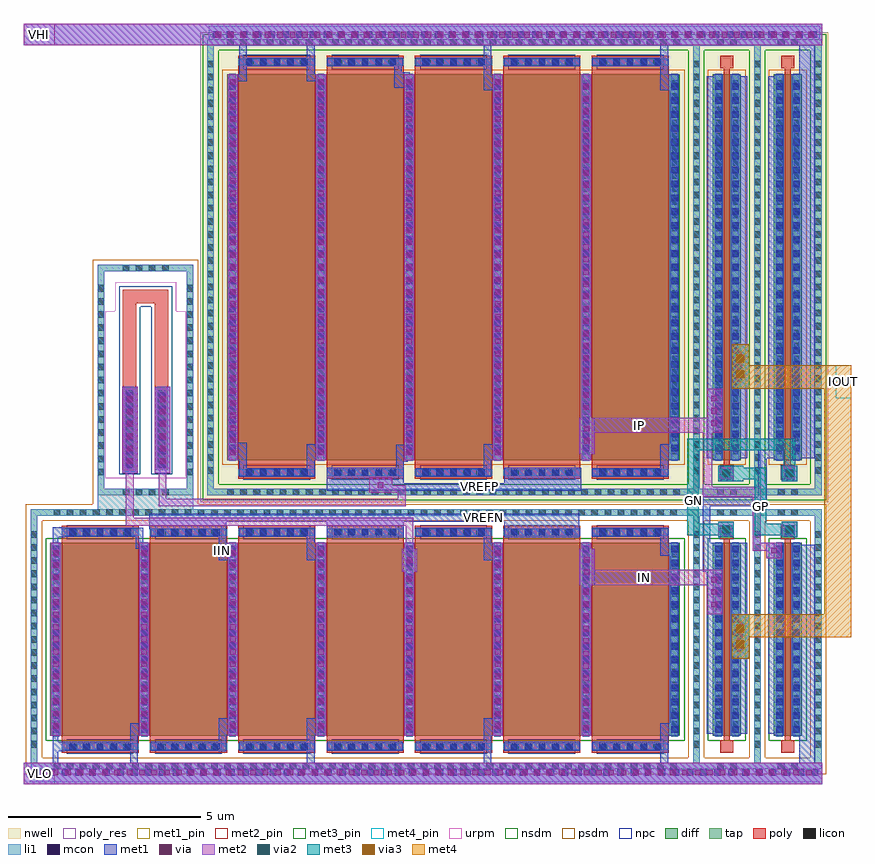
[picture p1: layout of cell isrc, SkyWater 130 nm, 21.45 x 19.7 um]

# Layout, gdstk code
import gdstk
lib = gdstk.Library(unit=1e-6, precision=1e-09)
def R(c, l, rs):  # rectangles x0, y0, x1, y1
    for r in rs: c.add(gdstk.rectangle(r[:2], r[2:], *l))
def A(c, l, x, y, w, h, nx, ny, dx, dy):  # array of equal rectangles
    R(c, l, [(x+i*dx, y+j*dy, x+i*dx+w, y+j*dy+h) for i in range(nx) for j in range(ny)])
nwell = (64, 20)
diff = (65, 20)
tap = (65, 44)
poly_res = (66, 13)
poly = (66, 20)
licon = (66, 44)
li1 = (67, 20)
mcon = (67, 44)
met1_pin = (68, 16)
met1 = (68, 20)
via = (68, 44)
met2_pin = (69, 16)
met2 = (69, 20)
via2 = (69, 44)
met3_pin = (70, 16)
met3 = (70, 20)
via3 = (70, 44)
met4_pin = (71, 16)
met4 = (71, 20)
urpm = (79, 20)
nsdm = (93, 44)
psdm = (94, 20)
npc = (95, 20)

isrc = lib.new_cell('isrc')
R(isrc, nwell, [(3.58,16.1,19.86,28.29)])
R(isrc, diff, [(-0.31,10.05,16.01,15.05), (16.86,10.05,17.59,15.05), (18.44,10.05,19.17,15.05), (4.27,17.195,16.01,27.195), (16.86,17.195,17.59,27.195), (18.44,17.195,19.17,27.195)])
A(isrc, tap, 16.35, 9.35, 0.17, 6.4, 3, 1, 1.58, 0)
A(isrc, tap, 16.35, 16.45, 0.17, 11.49, 3, 1, 1.58, 0)
R(isrc, tap, [(-0.82,9.18,19.68,9.35), (-0.82,9.35,-0.65,15.75), (-0.82,15.75,19.68,15.92), (0.92,16.28,3.4,16.45), (3.76,16.28,19.68,16.45), (0.92,16.45,1.09,22.09), (3.23,16.45,3.4,22.09), (3.76,16.45,3.93,27.94), (0.92,22.09,3.4,22.26), (3.76,27.94,19.68,28.11)])
R(isrc, poly_res, [(1.57,19.03,1.92,21.26), (2.4,19.03,2.75,21.26), (1.57,21.26,2.75,21.61)])
A(isrc, poly, -0.02, 9.61, 2, 5.88, 7, 1, 2.29, 0)
A(isrc, poly, 4.56, 16.71, 2, 10.97, 5, 1, 2.29, 0)
R(isrc, poly, [(17.06,9.61,17.39,9.94), (18.64,9.61,18.97,9.94), (17.15,9.94,17.3,15.16), (18.73,9.94,18.88,15.16), (17.06,15.16,17.39,15.49), (18.64,15.16,18.97,15.49), (17.06,16.71,17.39,17.04), (18.64,16.71,18.97,17.04), (1.57,16.93,1.92,21.26), (2.4,16.93,2.75,21.26), (17.15,17.04,17.3,27.35), (18.73,17.04,18.88,27.35), (1.57,21.26,2.75,21.61), (17.06,27.35,17.39,27.68), (18.64,27.35,18.97,27.68)])
A(isrc, licon, -0.225, 9.18, 0.17, 0.17, 48, 2, 0.34, 6.57)
A(isrc, licon, 0.215, 9.69, 0.17, 0.17, 5, 2, 0.34, 5.55)
A(isrc, licon, 2.505, 9.69, 0.17, 0.17, 5, 2, 0.34, 5.55)
A(isrc, licon, 4.795, 9.69, 0.17, 0.17, 5, 2, 0.34, 5.55)
A(isrc, licon, 7.085, 9.69, 0.17, 0.17, 5, 2, 0.34, 5.55)
A(isrc, licon, 9.375, 9.69, 0.17, 0.17, 5, 2, 0.34, 5.55)
A(isrc, licon, 11.665, 9.69, 0.17, 0.17, 5, 2, 0.34, 5.55)
A(isrc, licon, 13.955, 9.69, 0.17, 0.17, 5, 2, 0.34, 5.55)
A(isrc, licon, -0.82, 9.745, 0.17, 0.17, 1, 17, 0, 0.34)
A(isrc, licon, 16.35, 9.745, 0.17, 0.17, 3, 17, 1.58, 0.34)
A(isrc, licon, -0.25, 10.255, 0.17, 0.17, 8, 14, 2.29, 0.34)
A(isrc, licon, 16.92, 10.255, 0.17, 0.17, 1, 14, 0, 0.34)
A(isrc, licon, 17.36, 10.255, 0.17, 0.17, 1, 14, 0, 0.34)
A(isrc, licon, 18.5, 10.255, 0.17, 0.17, 1, 14, 0, 0.34)
A(isrc, licon, 18.94, 10.255, 0.17, 0.17, 1, 14, 0, 0.34)
A(isrc, licon, 1.565, 16.28, 0.17, 0.17, 4, 2, 0.34, 5.81)
A(isrc, licon, 4.275, 16.28, 0.17, 0.17, 35, 2, 0.34, 11.66)
A(isrc, licon, 4.795, 16.79, 0.17, 0.17, 5, 2, 0.34, 10.64)
A(isrc, licon, 7.085, 16.79, 0.17, 0.17, 5, 2, 0.34, 10.64)
A(isrc, licon, 9.375, 16.79, 0.17, 0.17, 5, 2, 0.34, 10.64)
A(isrc, licon, 11.665, 16.79, 0.17, 0.17, 5, 2, 0.34, 10.64)
A(isrc, licon, 13.955, 16.79, 0.17, 0.17, 5, 2, 0.34, 10.64)
A(isrc, licon, 0.92, 16.805, 0.17, 0.17, 1, 15, 0, 0.34)
A(isrc, licon, 3.23, 16.805, 0.17, 0.17, 1, 15, 0, 0.34)
A(isrc, licon, 3.76, 16.84, 0.17, 0.17, 1, 32, 0, 0.34)
A(isrc, licon, 16.35, 16.84, 0.17, 0.17, 3, 32, 1.58, 0.34)
A(isrc, licon, 4.33, 17.35, 0.17, 0.17, 6, 29, 2.29, 0.34)
A(isrc, licon, 16.92, 17.35, 0.17, 0.17, 1, 29, 0, 0.34)
A(isrc, licon, 17.36, 17.35, 0.17, 0.17, 1, 29, 0, 0.34)
A(isrc, licon, 18.5, 17.35, 0.17, 0.17, 1, 29, 0, 0.34)
A(isrc, licon, 18.94, 17.35, 0.17, 0.17, 1, 29, 0, 0.34)
R(isrc, licon, [(16.97,9.18,17.14,9.35), (17.31,9.18,17.48,9.35), (18.55,9.18,18.72,9.35), (18.89,9.18,19.06,9.35), (17.14,15.24,17.31,15.41), (18.72,15.24,18.89,15.41), (16.97,15.75,17.14,15.92), (17.31,15.75,17.48,15.92), (18.55,15.75,18.72,15.92), (18.89,15.75,19.06,15.92), (16.97,16.28,17.14,16.45), (17.31,16.28,17.48,16.45), (18.55,16.28,18.72,16.45), (18.89,16.28,19.06,16.45), (17.14,16.79,17.31,16.96), (18.72,16.79,18.89,16.96), (1.65,17.01,1.84,19.01), (2.48,17.01,2.67,19.01), (16.97,27.94,17.14,28.11), (17.31,27.94,17.48,28.11), (18.55,27.94,18.72,28.11), (18.89,27.94,19.06,28.11)])
A(isrc, li1, 16.35, 9.35, 0.17, 6.4, 3, 1, 1.58, 0)
A(isrc, li1, -0.02, 9.69, 2, 0.17, 7, 2, 2.29, 5.55)
A(isrc, li1, -0.25, 10.03, 0.17, 5.04, 8, 1, 2.29, 0)
A(isrc, li1, 16.35, 16.45, 0.17, 11.49, 3, 1, 1.58, 0)
A(isrc, li1, 4.56, 16.79, 2, 0.17, 5, 2, 2.29, 10.64)
A(isrc, li1, 4.33, 17.175, 0.17, 10.04, 6, 1, 2.29, 0)
R(isrc, li1, [(-0.85,8.85,19.7,9.2), (-0.82,9.2,19.7,9.35), (-0.82,9.35,-0.65,15.75), (16.92,10.03,17.09,15.07), (17.36,10.03,17.53,15.07), (18.5,10.03,18.67,15.07), (18.94,10.03,19.11,15.07), (17.06,15.24,17.39,15.41), (18.64,15.24,18.97,15.41), (-0.82,15.75,19.68,15.92), (0.92,15.92,3.4,16.45), (3.76,16.28,19.68,16.45), (0.92,16.45,1.09,22.09), (3.23,16.45,3.4,22.09), (3.76,16.45,3.93,27.94), (17.06,16.79,17.39,16.96), (18.64,16.79,18.97,16.96), (1.55,16.9,1.95,19.05), (2.4,16.93,2.75,19.09), (16.92,17.175,17.09,27.215), (17.36,17.175,17.53,27.215), (18.5,17.175,18.67,27.215), (18.94,17.175,19.11,27.215), (1.57,19.05,1.92,19.09), (0.92,22.09,3.4,22.26), (3.76,27.94,19.68,28.11), (3.8,28.11,19.65,28.45)])
A(isrc, mcon, -0.74, 9.015, 0.17, 0.17, 57, 1, 0.36, 0)
A(isrc, mcon, 0.175, 9.69, 0.17, 0.17, 5, 2, 0.36, 5.55)
A(isrc, mcon, 2.465, 9.69, 0.17, 0.17, 5, 2, 0.36, 5.55)
A(isrc, mcon, 4.755, 9.69, 0.17, 0.17, 5, 2, 0.36, 5.55)
A(isrc, mcon, 7.045, 9.69, 0.17, 0.17, 5, 2, 0.36, 5.55)
A(isrc, mcon, 9.335, 9.69, 0.17, 0.17, 5, 2, 0.36, 5.55)
A(isrc, mcon, 11.625, 9.69, 0.17, 0.17, 5, 2, 0.36, 5.55)
A(isrc, mcon, 13.915, 9.69, 0.17, 0.17, 5, 2, 0.36, 5.55)
A(isrc, mcon, -0.25, 10.125, 0.17, 0.17, 8, 14, 2.29, 0.36)
A(isrc, mcon, 16.92, 10.125, 0.17, 0.17, 1, 14, 0, 0.36)
A(isrc, mcon, 17.36, 10.125, 0.17, 0.17, 1, 14, 0, 0.36)
A(isrc, mcon, 18.5, 10.125, 0.17, 0.17, 1, 14, 0, 0.36)
A(isrc, mcon, 18.94, 10.125, 0.17, 0.17, 1, 14, 0, 0.36)
A(isrc, mcon, 4.755, 16.79, 0.17, 0.17, 5, 2, 0.36, 10.64)
A(isrc, mcon, 7.045, 16.79, 0.17, 0.17, 5, 2, 0.36, 10.64)
A(isrc, mcon, 9.335, 16.79, 0.17, 0.17, 5, 2, 0.36, 10.64)
A(isrc, mcon, 11.625, 16.79, 0.17, 0.17, 5, 2, 0.36, 10.64)
A(isrc, mcon, 13.915, 16.79, 0.17, 0.17, 5, 2, 0.36, 10.64)
A(isrc, mcon, 1.665, 16.99, 0.17, 0.17, 1, 6, 0, 0.36)
A(isrc, mcon, 2.515, 16.99, 0.17, 0.17, 1, 6, 0, 0.36)
A(isrc, mcon, 4.33, 17.43, 0.17, 0.17, 6, 27, 2.29, 0.36)
A(isrc, mcon, 16.92, 17.43, 0.17, 0.17, 1, 27, 0, 0.36)
A(isrc, mcon, 17.36, 17.43, 0.17, 0.17, 1, 27, 0, 0.36)
A(isrc, mcon, 18.5, 17.43, 0.17, 0.17, 1, 27, 0, 0.36)
A(isrc, mcon, 18.94, 17.43, 0.17, 0.17, 1, 27, 0, 0.36)
A(isrc, mcon, 3.9, 28.14, 0.17, 0.17, 44, 1, 0.36, 0)
R(isrc, mcon, [(17.14,15.24,17.31,15.41), (18.72,15.24,18.89,15.41), (17.14,16.79,17.31,16.96), (18.72,16.79,18.89,16.96)])
R(isrc, met1_pin, [(4.05,14.6,4.25,15.1), (10.75,15.6,11.1,15.8), (10.65,16.4,11,16.6)])
A(isrc, met1, 1.76, 9.35, 0.2, 0.31, 4, 1, 4.58, 0)
A(isrc, met1, 2.29, 9.66, 1.96, 0.23, 6, 1, 2.29, 0)
A(isrc, met1, 1.76, 9.89, 0.2, 0.16, 3, 1, 2.29, 0)
A(isrc, met1, 9.16, 15.21, 1.96, 0.23, 3, 1, 2.29, 0)
A(isrc, met1, 4.58, 16.76, 1.96, 0.23, 3, 1, 4.58, 0)
A(isrc, met1, 6.34, 16.99, 0.2, 0.205, 3, 2, 4.58, 10.205)
A(isrc, met1, 4.58, 27.4, 1.96, 0.23, 5, 1, 2.29, 0)
A(isrc, met1, 6.34, 27.63, 0.2, 0.32, 3, 1, 4.58, 0)
R(isrc, met1, [(-1,8.8,19.7,9.35), (-0.25,9.35,-0.1,9.65), (19.1,9.35,19.5,10.05), (-0.25,9.65,0.05,9.66), (4.05,9.65,4.25,9.66), (-0.25,9.66,1.96,9.89), (-0.25,9.89,0.05,9.9), (10.92,9.89,11.12,10.05), (15.5,9.89,15.7,10.05), (-0.25,9.9,-0.1,10.05), (-0.295,10.05,-0.035,15.05), (1.76,10.05,2.255,10.38), (4.05,10.05,4.545,10.5), (6.34,10.05,6.835,10.505), (8.865,10.05,9.125,14.3), (10.92,10.05,11.415,10.505), (13.445,10.05,13.705,13.95), (15.5,10.05,15.98,10.38), (16.89,10.05,17.12,10.1), (17.33,10.05,17.56,10.1), (18.47,10.05,18.7,10.1), (18.91,10.05,19.5,15), (16.7,10.1,17.12,14.3), (17.33,10.1,17.75,12.05), (18.3,10.1,18.7,14.65), (1.995,10.38,2.255,14.9), (15.75,10.38,15.98,14.72), (4.285,10.5,4.545,14.6), (6.575,10.505,6.835,14.6), (11.155,10.505,11.415,14.595), (17.33,12.05,17.8,13.2), (17.33,13.2,17.75,15.05), (13.4,13.95,13.8,14.9), (8.8,14.3,9.2,14.9), (16.6,14.3,17.12,15.05), (10.92,14.595,11.415,15.05), (4.05,14.6,4.545,15.05), (6.34,14.6,6.835,15.05), (18.25,14.65,18.7,15.05), (15.5,14.72,15.98,15.05), (1.9,14.9,2.255,15.05), (8.865,14.9,9.125,15.05), (13.445,14.9,13.705,15.05), (18.91,15,19.14,15.05), (-0.25,15.05,-0.1,15.2), (1.9,15.05,2.1,15.21), (4.05,15.05,4.25,15.21), (6.34,15.05,6.625,15.055), (10.92,15.05,11.12,15.21), (15.5,15.05,15.7,15.21), (16.6,15.05,16.8,16), (6.34,15.055,6.54,15.21), (-0.25,15.2,0.05,15.21), (6.85,15.2,8.85,15.6), (11.45,15.2,13.4,15.21), (17,15.2,17.4,15.6), (18.65,15.2,19.05,15.6), (-0.25,15.21,2.1,15.44), (2.29,15.21,4.25,15.4), (4.58,15.21,6.54,15.44), (2.25,15.4,4.25,15.6), (-0.25,15.44,0.05,15.45), (11.45,15.44,13.4,15.6), (2.25,15.6,13.4,15.8), (18.11,15.99,18.26,16), (16.6,16,18.26,16.25), (18.04,16.25,18.26,17.24), (6.85,16.4,13.45,16.6), (6.85,16.6,8.85,17), (11.45,16.6,13.45,17), (17,16.65,17.4,17.05), (18.65,16.65,19.05,17.05), (1.55,16.85,1.95,19.1), (2.4,16.85,2.8,19.1), (4.58,16.99,4.78,17.195), (8.65,17,8.85,17.15), (8.65,17.15,8.95,17.195), (4.285,17.195,4.78,17.65), (6.34,17.195,6.835,17.605), (8.65,17.195,9.125,17.6), (10.92,17.195,11.415,17.605), (13.445,17.195,13.705,17.35), (15.5,17.195,15.98,17.605), (16.89,17.195,17.12,17.25), (17.33,17.195,17.56,17.25), (18.47,17.195,18.7,17.24), (18.91,17.195,19.14,17.25), (18.04,17.24,18.7,17.46), (16.7,17.25,17.12,27.15), (17.33,17.25,17.75,19.05), (18.91,17.25,19.5,27.195), (13.4,17.35,13.8,18.3), (18.3,17.46,18.7,27.15), (8.865,17.6,9.125,26.85), (6.575,17.605,6.835,27.015), (11.155,17.605,11.415,26.785), (15.75,17.605,15.98,26.785), (4.285,17.65,4.545,27.015), (13.445,18.3,13.705,27.195), (17.33,19.05,17.8,20.2), (17.33,20.2,17.75,27.15), (10.92,26.785,11.415,27.195), (15.5,26.785,15.98,27.195), (8.6,26.85,9.125,27.195), (4.285,27.015,4.78,27.195), (6.34,27.015,6.835,27.195), (16.89,27.15,17.12,27.195), (17.33,27.15,17.56,27.195), (18.47,27.15,18.7,27.195), (4.58,27.195,4.78,27.4), (8.6,27.195,9,27.25), (19.1,27.195,19.5,27.95), (8.6,27.25,8.8,27.4), (4.58,27.63,4.78,27.95), (-1,27.95,19.7,28.5)])
A(isrc, via, -0.57, 9.025, 0.15, 0.15, 63, 1, 0.32, 0)
A(isrc, via, 13.5, 10.19, 0.15, 0.15, 1, 12, 0, 0.32)
A(isrc, via, 8.92, 10.205, 0.15, 0.15, 1, 13, 0, 0.32)
A(isrc, via, -0.24, 10.235, 0.15, 0.15, 4, 15, 2.29, 0.32)
A(isrc, via, 11.21, 10.235, 0.15, 0.15, 1, 15, 0, 0.32)
A(isrc, via, 17.5, 12.23, 0.15, 0.15, 1, 3, 0, 0.32)
A(isrc, via, 16.825, 13.38, 0.15, 0.15, 1, 3, 0, 0.32)
A(isrc, via, 1.675, 17.1, 0.15, 0.15, 1, 6, 0, 0.32)
A(isrc, via, 2.525, 17.1, 0.15, 0.15, 1, 6, 0, 0.32)
A(isrc, via, 4.34, 17.32, 0.15, 0.15, 4, 31, 2.29, 0.32)
A(isrc, via, 16.825, 18.08, 0.15, 0.15, 1, 3, 0, 0.32)
A(isrc, via, 13.5, 18.485, 0.15, 0.15, 1, 27, 0, 0.32)
A(isrc, via, 17.475, 19.23, 0.15, 0.15, 1, 3, 0, 0.32)
A(isrc, via, 3.97, 28.15, 0.15, 0.15, 49, 1, 0.32, 0)
R(isrc, via, [(13.52,14.22,13.67,14.37), (8.925,14.525,9.075,14.675), (13.52,14.54,13.67,14.69), (18.375,14.775,18.525,14.925), (17.125,15.325,17.275,15.475), (18.775,15.325,18.925,15.475), (8.175,16.475,8.325,16.625), (17.125,16.775,17.275,16.925), (18.775,16.775,18.925,16.925), (13.52,17.62,13.67,17.77), (13.52,17.94,13.67,18.09)])
R(isrc, met2_pin, [(-1,8.8,-0.2,9.35), (14.9,13.95,15.3,14.35), (14.75,17.9,15.15,18.3), (-1,27.95,-0.2,28.5)])
A(isrc, met2, -0.295, 10.05, 0.26, 5, 4, 1, 2.29, 0)
A(isrc, met2, 4.285, 17.195, 0.26, 10, 4, 1, 2.29, 0)
R(isrc, met2, [(-1,8.8,19.7,9.35), (8.865,10.05,9.125,14.3), (11.155,10.05,11.415,15.05), (13.445,10.05,13.705,13.95), (17.35,12.05,17.8,13.2), (16.7,13.2,17.1,13.95), (13.4,13.95,17.1,14.35), (8.8,14.3,9.2,14.9), (13.4,14.35,13.8,14.9), (18.25,14.65,18.65,14.85), (17.9,14.85,18.65,15.05), (8.865,14.9,9.125,15.05), (13.445,14.9,13.705,15.05), (8.9,15.05,9.1,15.5), (17.9,15.05,18.1,16.25), (17,15.2,17.4,15.6), (18.65,15.2,19.05,15.6), (1.65,15.5,9.1,15.7), (1.65,15.7,1.85,16.85), (2.5,16,8.9,16.2), (2.5,16.2,2.7,16.85), (8.7,16.2,8.9,16.35), (16.6,16.25,18.1,16.5), (7.95,16.35,8.9,16.55), (16.6,16.5,16.85,17.9), (7.95,16.55,8.55,16.75), (17,16.65,17.4,17.05), (18.65,16.65,19.05,17.05), (1.55,16.85,1.95,19.1), (2.4,16.85,2.8,19.1), (13.445,17.195,13.705,17.35), (13.4,17.35,13.8,17.9), (13.4,17.9,17.1,18.3), (13.445,18.3,13.705,27.195), (16.7,18.3,17.1,19.05), (17.35,19.05,17.8,20.2), (-1,27.95,19.7,28.5)])
R(isrc, via2, [(17.475,12.325,17.675,12.525), (17.475,12.725,17.675,12.925), (17.1,15.3,17.3,15.5), (18.75,15.3,18.95,15.5), (17.1,16.75,17.3,16.95), (18.75,16.75,18.95,16.95), (17.45,19.325,17.65,19.525), (17.45,19.725,17.65,19.925)])
R(isrc, met3_pin, [(17.95,15.9,18.25,16.1), (16.2,16.05,16.5,16.25)])
R(isrc, met3, [(17.35,12.05,17.8,13.2), (17,15.2,17.4,15.25), (18.65,15.2,19.05,15.25), (16.2,15.25,17.4,15.55), (17.95,15.25,19.05,15.55), (16.2,15.55,16.5,17.45), (17,15.55,17.4,15.6), (17.95,15.55,18.25,16.7), (18.65,15.55,19.05,15.6), (17,16.65,17.65,16.7), (18.65,16.65,19.05,17.05), (17,16.7,18.25,17), (17,17,17.65,17.05), (18.7,17.05,19,17.45), (16.2,17.45,19,17.75), (17.35,19.05,17.8,20.2)])
R(isrc, via3, [(17.475,12.325,17.675,12.525), (17.475,12.725,17.675,12.925), (17.475,19.325,17.675,19.525), (17.475,19.725,17.675,19.925)])
R(isrc, met4_pin, [(20.05,18.8,20.45,19.65)])
R(isrc, met4, [(17.35,12.05,17.8,12.6), (17.35,12.6,20.45,13.2), (19.75,13.2,20.45,19.05), (17.35,19.05,20.45,19.65), (17.35,19.65,17.8,20.2)])
R(isrc, urpm, [(1.11,16.73,3.21,21.06), (1.37,21.06,2.95,21.81)])
A(isrc, nsdm, 16.225, 16.575, 0.42, 11.24, 3, 1, 1.58, 0)
R(isrc, nsdm, [(-0.435,9.925,16.135,15.175), (16.735,9.925,17.715,15.175), (18.315,9.925,19.295,15.175), (3.635,16.155,19.805,16.575), (3.635,16.575,4.055,27.815), (3.635,27.815,19.805,28.235)])
A(isrc, psdm, 16.225, 9.475, 0.42, 6.15, 3, 1, 1.58, 0)
R(isrc, psdm, [(-0.945,9.055,19.805,9.475), (-0.945,9.475,-0.525,15.625), (-0.945,15.625,19.805,16.045), (0.795,16.045,3.525,22.385), (4.145,17.07,16.135,27.32), (16.735,17.07,17.715,27.32), (18.315,17.07,19.295,27.32)])
A(isrc, npc, 0.115, 9.59, 1.73, 0.37, 7, 2, 2.29, 5.55)
A(isrc, npc, 4.695, 16.69, 1.73, 0.37, 5, 2, 2.29, 10.64)
R(isrc, npc, [(17.04,15.14,17.41,15.51), (18.62,15.14,18.99,15.51), (17.04,16.69,17.41,17.06), (18.62,16.69,18.99,17.06), (1.475,16.835,2.015,21.165), (2.305,16.835,2.845,21.165), (1.475,21.165,2.845,21.705)])
isrc.add(gdstk.Label('IOUT', (20.25,19.225), layer=71, texttype=16))
isrc.add(gdstk.Label('GN', (16.35,16.15), layer=70, texttype=16))
isrc.add(gdstk.Label('GP', (18.1,16), layer=70, texttype=16))
isrc.add(gdstk.Label('IIN', (4.15,14.85), layer=68, texttype=16))
isrc.add(gdstk.Label('VHI', (-0.6,28.225), layer=69, texttype=16))
isrc.add(gdstk.Label('VLO', (-0.6,9.075), layer=69, texttype=16))
isrc.add(gdstk.Label('IP', (14.95,18.1), layer=69, texttype=16))
isrc.add(gdstk.Label('IN', (15.1,14.15), layer=69, texttype=16))
isrc.add(gdstk.Label('VREFN', (10.925,15.7), layer=68, texttype=16))
isrc.add(gdstk.Label('VREFP', (10.825,16.5), layer=68, texttype=16))

lib.write_gds('isrc.gds')
